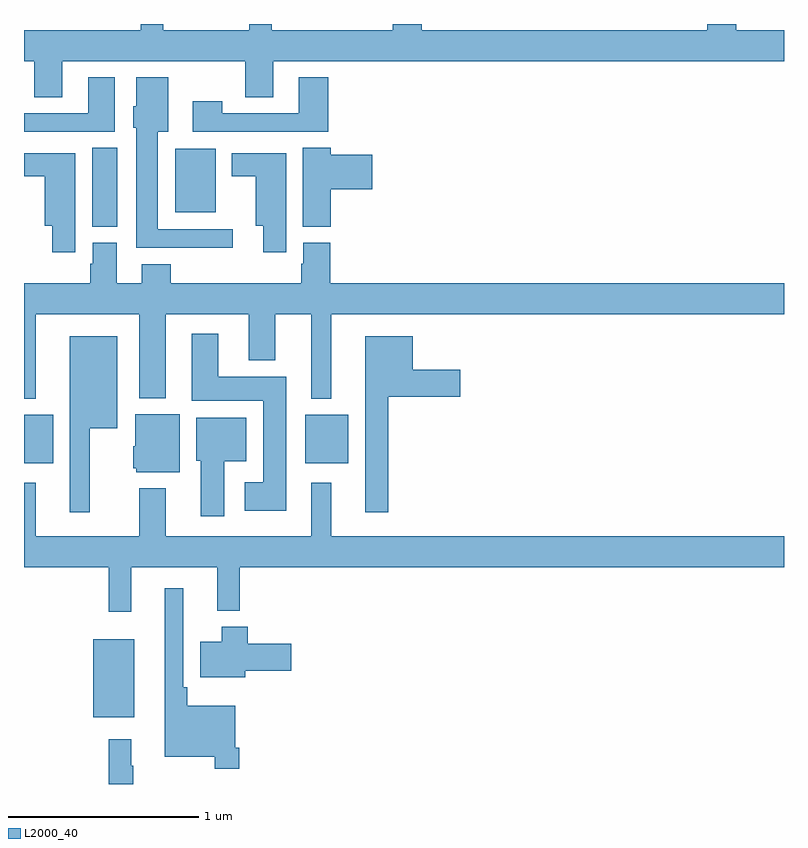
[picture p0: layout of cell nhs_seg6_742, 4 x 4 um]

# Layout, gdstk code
import gdstk
lib = gdstk.Library(unit=1e-6, precision=1e-09)
def R(c, l, rs):  # rectangles x0, y0, x1, y1
    for r in rs: c.add(gdstk.rectangle(r[:2], r[2:], *l))
def P(c, l, *ps):  # polygons
    for p in ps: c.add(gdstk.Polygon(p, *l))
L2000_40 = (2000, 40)

nhs_seg6_742 = lib.new_cell('nhs_seg6_742')
R(nhs_seg6_742, L2000_40, [(157.364,975.851,157.579,976.261), (157,977.189,157.153,977.443), (158.48,977.189,158.707,977.443), (157.358,978.433,157.492,978.848), (157.796,978.509,158.008,978.844)])
P(nhs_seg6_742, L2000_40, [(157.201,979.304),(158.164,979.304),(158.164,979.114),(158.311,979.114),(158.311,979.304),(161,979.304),(161,979.468),(160.748,979.468),(160.748,979.5),(160.596,979.5),(160.596,979.468),(159.094,979.468),(159.094,979.5),(158.942,979.5),(158.942,979.468),(158.303,979.468),(158.303,979.5),(158.186,979.5),(158.186,979.468),(157.733,979.468),(157.733,979.5),(157.615,979.5),(157.615,979.468),(157,979.468),(157,979.304),(157.054,979.304),(157.054,979.114),(157.201,979.114)],
  [(158.098,978.42),(157.705,978.42),(157.705,978.932),(157.759,978.932),(157.759,979.219),(157.592,979.219),(157.592,979.068),(157.574,979.068),(157.574,978.954),(157.592,978.954),(157.592,978.323),(158.098,978.323)],
  [(158.6,979.219),(158.447,979.219),(158.447,979.029),(158.043,979.029),(158.043,979.093),(157.887,979.093),(157.887,978.933),(158.6,978.933)],
  [(157.477,979.219),(157.337,979.219),(157.337,979.029),(157,979.029),(157,978.933),(157.477,978.933)],
  [(158.615,978.629),(158.833,978.629),(158.833,978.812),(158.615,978.812),(158.615,978.848),(158.468,978.848),(158.468,978.433),(158.615,978.433)],
  [(157.27,978.82),(157,978.82),(157,978.698),(157.109,978.698),(157.109,978.437),(157.148,978.437),(157.148,978.3),(157.27,978.3)],
  [(158.38,978.82),(158.093,978.82),(158.093,978.698),(158.219,978.698),(158.219,978.437),(158.258,978.437),(158.258,978.3),(158.38,978.3)],
  [(157.063,977.972),(157.607,977.972),(157.607,977.531),(157.747,977.531),(157.747,977.972),(158.183,977.972),(158.183,977.729),(158.323,977.729),(158.323,977.972),(158.513,977.972),(158.513,977.528),(158.617,977.528),(158.617,977.972),(161,977.972),(161,978.136),(158.612,978.136),(158.612,978.348),(158.471,978.348),(158.471,978.237),(158.459,978.237),(158.459,978.136),(157.772,978.136),(157.772,978.235),(157.619,978.235),(157.619,978.136),(157.489,978.136),(157.489,978.348),(157.361,978.348),(157.361,978.237),(157.349,978.237),(157.349,978.136),(157,978.136),(157,977.528),(157.063,977.528)],
  [(158.38,977.644),(158.023,977.644),(158.023,977.869),(157.883,977.869),(157.883,977.516),(158.258,977.516),(158.258,977.089),(158.163,977.089),(158.163,976.937),(158.38,976.937)],
  [(157.345,977.372),(157.492,977.372),(157.492,977.857),(157.241,977.857),(157.241,976.929),(157.345,976.929)],
  [(158.917,977.537),(159.295,977.537),(159.295,977.679),(159.046,977.679),(159.046,977.857),(158.795,977.857),(158.795,976.929),(158.917,976.929)],
  [(157.819,977.446),(157.586,977.446),(157.586,977.277),(157.574,977.277),(157.574,977.163),(157.59,977.163),(157.59,977.141),(157.819,977.141)],
  [(158.053,977.198),(158.17,977.198),(158.17,977.428),(157.907,977.428),(157.907,977.202),(157.931,977.202),(157.931,976.908),(158.053,976.908)],
  [(157.565,976.64),(158.018,976.64),(158.018,976.412),(158.135,976.412),(158.135,976.64),(161,976.64),(161,976.804),(158.617,976.804),(158.617,977.086),(158.513,977.086),(158.513,976.804),(157.747,976.804),(157.747,977.056),(157.607,977.056),(157.607,976.804),(157.063,976.804),(157.063,977.086),(157,977.086),(157,976.64),(157.447,976.64),(157.447,976.407),(157.565,976.407)],
  [(158.132,975.691),(158.112,975.691),(158.112,975.913),(157.859,975.913),(157.859,976.009),(157.839,976.009),(157.839,976.531),(157.742,976.531),(157.742,975.644),(158.004,975.644),(158.004,975.579),(158.132,975.579)],
  [(158.164,976.097),(158.407,976.097),(158.407,976.239),(158.177,976.239),(158.177,976.327),(158.042,976.327),(158.042,976.249),(157.928,976.249),(157.928,976.061),(158.164,976.061)],
  [(157.576,975.596),(157.564,975.596),(157.564,975.736),(157.447,975.736),(157.447,975.5),(157.576,975.5)])

lib.write_gds('nhs_seg6_742.gds')
